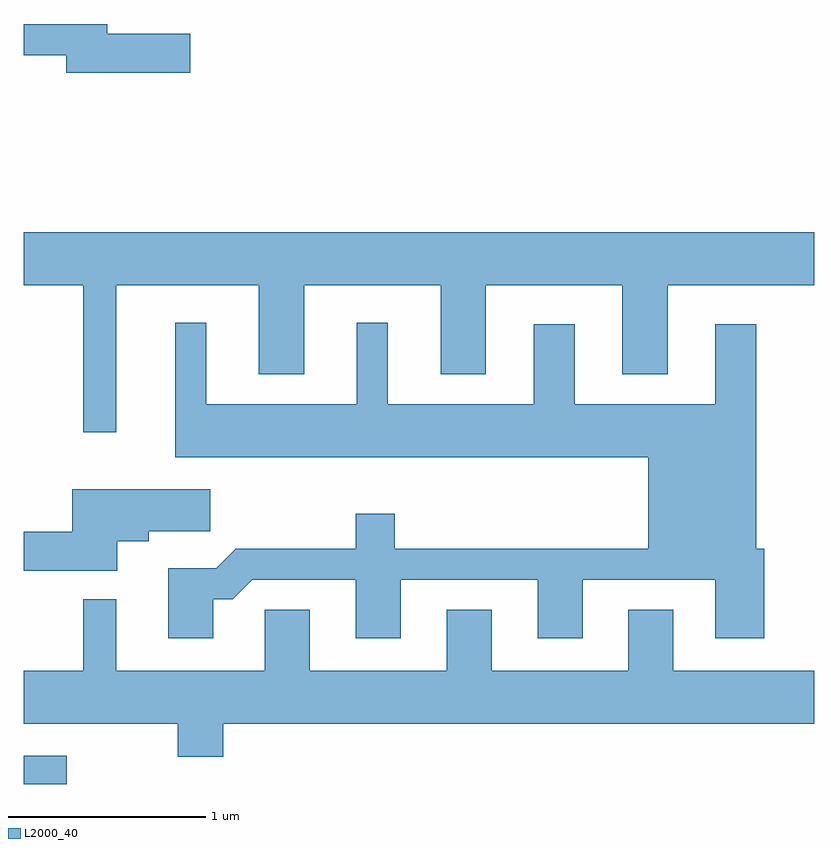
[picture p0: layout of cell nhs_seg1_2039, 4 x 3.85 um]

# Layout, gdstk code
import gdstk
lib = gdstk.Library(unit=1e-6, precision=1e-09)
def R(c, l, rs):  # rectangles x0, y0, x1, y1
    for r in rs: c.add(gdstk.rectangle(r[:2], r[2:], *l))
def P(c, l, *ps):  # polygons
    for p in ps: c.add(gdstk.Polygon(p, *l))
L2000_40 = (2000, 40)

nhs_seg1_2039 = lib.new_cell('nhs_seg1_2039')
R(nhs_seg1_2039, L2000_40, [(247.611,903.712,247.828,903.854)])
P(nhs_seg1_2039, L2000_40, [(248.454,907.509),(248.034,907.509),(248.034,907.559),(247.611,907.559),(247.611,907.401),(247.826,907.401),(247.826,907.311),(248.454,907.311)],
  [(248.079,906.236),(248.801,906.236),(248.801,905.786),(249.029,905.786),(249.029,906.236),(249.721,906.236),(249.721,905.786),(249.949,905.786),(249.949,906.236),(250.641,906.236),(250.641,905.786),(250.869,905.786),(250.869,906.236),(251.611,906.236),(251.611,906.504),(247.611,906.504),(247.611,906.236),(247.911,906.236),(247.911,905.493),(248.079,905.493)],
  [(248.569,904.646),(248.667,904.646),(248.767,904.746),(249.291,904.746),(249.291,904.451),(249.519,904.451),(249.519,904.746),(250.211,904.746),(250.211,904.451),(250.439,904.451),(250.439,904.746),(251.111,904.746),(251.111,904.451),(251.359,904.451),(251.359,904.904),(251.319,904.904),(251.319,906.039),(251.111,906.039),(251.111,905.634),(250.399,905.634),(250.399,906.039),(250.191,906.039),(250.191,905.634),(249.454,905.634),(249.454,906.048),(249.296,906.048),(249.296,905.634),(248.534,905.634),(248.534,906.048),(248.376,906.048),(248.376,905.366),(250.771,905.366),(250.771,904.904),(249.489,904.904),(249.489,905.079),(249.291,905.079),(249.291,904.904),(248.684,904.904),(248.584,904.804),(248.341,904.804),(248.341,904.451),(248.569,904.451)],
  [(248.084,904.941),(248.244,904.941),(248.244,904.991),(248.554,904.991),(248.554,905.204),(247.856,905.204),(247.856,904.989),(247.611,904.989),(247.611,904.791),(248.084,904.791)],
  [(248.619,904.016),(251.611,904.016),(251.611,904.284),(250.899,904.284),(250.899,904.594),(250.671,904.594),(250.671,904.284),(249.979,904.284),(249.979,904.594),(249.751,904.594),(249.751,904.284),(249.059,904.284),(249.059,904.594),(248.831,904.594),(248.831,904.284),(248.079,904.284),(248.079,904.648),(247.911,904.648),(247.911,904.284),(247.611,904.284),(247.611,904.016),(248.391,904.016),(248.391,903.851),(248.619,903.851)])

lib.write_gds('nhs_seg1_2039.gds')
